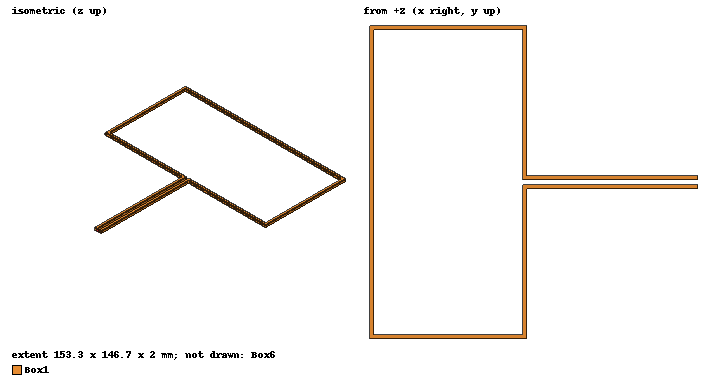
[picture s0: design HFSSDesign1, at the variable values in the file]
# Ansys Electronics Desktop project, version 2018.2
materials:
  vacuum: permittivity=1
  copper: permeability=0.999991 conductivity=58000000

design HFSSDesign1 (HFSS, DrivenModal, model units mm)
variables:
  c = 440mm
  w = c/6
  l = c/3
  d = 2mm
  lf = 80mm
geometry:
  Box1 [copper] = box(corner=(-w/2, -l/2, 0mm), size=(w, l, d))
  Box2 = box(corner=(-(w-2*d)/2, -(l-2*d)/2, 0mm), size=(w-2*d, l-2*d, d))
  Box1.subtract(Box2)
  Box3 = box(corner=(w/2, -d/2, 0mm), size=(-d, d, d))
  Box1.subtract(Box3)
  Box4 = box(corner=(w/2, -d/2, 0mm), size=(lf, -d, d))
  Box5 = box(corner=(w/2, d/2, 0mm), size=(lf, d, d))
  Box1.unite(Box4, Box5)
  Rectangle1 = rectangle(corner=(w/2+lf, -d/2, 0mm), y_size=d, z_size=d)
  Box6 [vacuum] = box(corner=(-w/2-100mm, -l/2-100mm, -100mm), size=(w+lf+200mm, l+200mm, 200mm))
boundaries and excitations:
  Rad1: Radiation Objects=Box6
  1: Lumped Port Objects=Rectangle1 Modes{Mode1{IntLine{middle of Rectangle1.edge(y opposite corner) -> middle of Rectangle1.edge(y at corner)} CharImp=Zpi RenormImp=50ohm}} Impedance=50ohm
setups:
  Setup1: HfssDriven Frequency=0.7GHz MaxDeltaS=0.02 MaximumPasses=10 MinimumPasses=1 MinimumConvergedPasses=1 PercentRefinement=30 BasisOrder=1 PortAccuracy=2
    sweep Sweep: 0.4GHz to 1GHz step 0.02GHz; Type=Fast SaveFields
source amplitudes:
  1:1: 1W 0deg
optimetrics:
  ParametricSetup1: Parametric Sim._Setups=[Setup1]
    sweep lf: LIN 70mm 80mm 2mm
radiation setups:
  Infinite Sphere1: Infinite Sphere Theta=-180deg..180deg step 2deg Phi=0deg..360deg step 2deg
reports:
  S Parameter Plot 1: dB(S(1,1)) vs Freq on Setup1 : Sweep [c=all lf=all]; markers MX1 at x=7e+08, MY1 at y=-9.95015
  S Parameter Plot 2: dB(S(1,1)) vs Freq on Setup1 : Sweep [c=440mm lf=80mm]; markers MX1 at x=7.0019317e+08, MY1 at y=-10.1303
  Gain Plot 1: dB(GainTotal) vs Theta on Setup1 : LastAdaptive, Infinite Sphere1 [Phi=0deg Freq=0.7GHz c=440mm lf=80mm]
